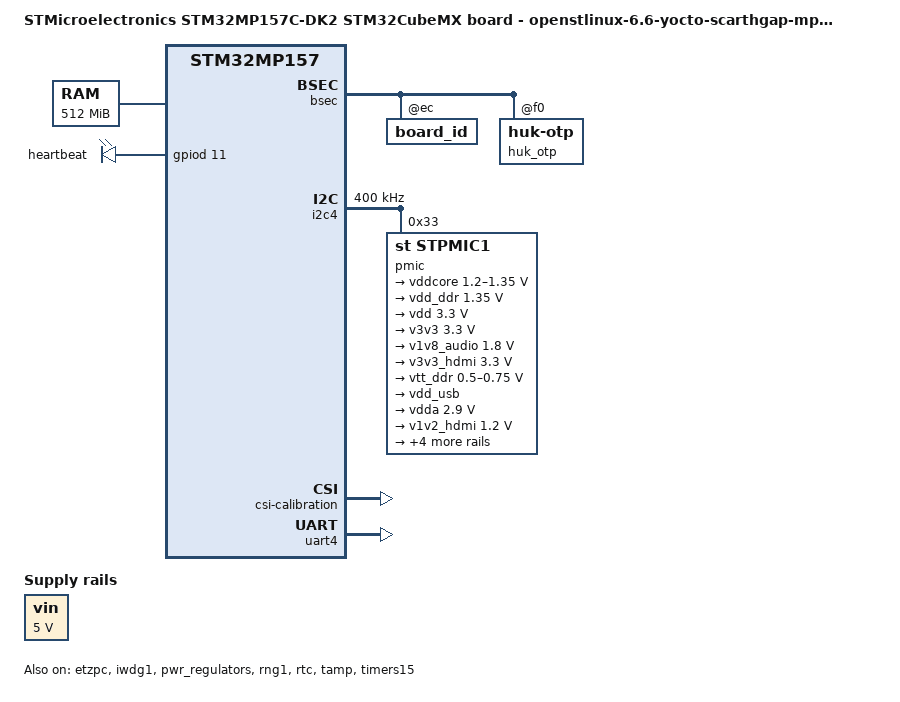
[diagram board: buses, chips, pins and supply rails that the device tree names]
// SPDX-License-Identifier: (GPL-2.0-or-later OR BSD-3-Clause)
/*
 * Copyright (C) 2026, STMicroelectronics - All Rights Reserved
 * Author: STM32CubeMX code generation for STMicroelectronics.
 */

/* For more information on Device Tree configuration, please refer to
 * https://wiki.st.com/stm32mpu/wiki/Category:Device_tree_configuration
 */

/dts-v1/;

#include <dt-bindings/pinctrl/stm32-pinfunc.h>
#include <dt-bindings/clock/stm32mp1-clksrc.h>
#include <dt-bindings/soc/stm32mp15-etzpc.h>
#include "stm32mp157.dtsi"
#include "stm32mp15xc.dtsi"
#include "stm32mp15xxac-pinctrl.dtsi"

/* USER CODE BEGIN includes */
#include "stm32mp15-pinctrl.dtsi"
#include <dt-bindings/gpio/gpio.h>
#include <dt-bindings/power/stm32mp1-power.h>
#include <dt-bindings/mfd/st,stpmic1.h>
#include <dt-bindings/soc/stm32mp-provisioning.h>
#include <dt-bindings/tamper/st,stm32-tamp.h>

/* USER CODE END includes */

/ {
	model = "STMicroelectronics STM32MP157C-DK2 STM32CubeMX board - openstlinux-6.6-yocto-scarthgap-mpu-v25.06.11";
	compatible = "st,stm32mp157c-cube-mx", "st,stm32mp157c-dk2", "st,stm32mp157";

	memory@c0000000 {
		device_type = "memory";
		reg = <0xc0000000 0x20000000>;

		/* USER CODE BEGIN memory */
		/* USER CODE END memory */
	};

	reserved-memory {
		#address-cells = <1>;
		#size-cells = <1>;
		ranges;

		/* USER CODE BEGIN reserved-memory */

		mcusram1:mcuram1@10000000{
			compatible = "shared-dma-pool";
			reg = <0x10000000 0x20000>;
			no-map;
			access-controllers-conf-default = <&etzpc DECPROT(STM32MP1_ETZPC_SRAM1_ID, DECPROT_MCU_ISOLATION, DECPROT_UNLOCK)>;
			access-controllers-conf-load = <&etzpc DECPROT(STM32MP1_ETZPC_SRAM1_ID, DECPROT_S_RW, DECPROT_UNLOCK)>;
		};

		mcusram2:mcuram2@10020000{
			compatible = "shared-dma-pool";
			reg = <0x10020000 0x20000>;
			no-map;
			access-controllers-conf-default = <&etzpc DECPROT(STM32MP1_ETZPC_SRAM2_ID, DECPROT_MCU_ISOLATION, DECPROT_UNLOCK)>;
			access-controllers-conf-load = <&etzpc DECPROT(STM32MP1_ETZPC_SRAM2_ID, DECPROT_S_RW, DECPROT_UNLOCK)>;
		};

		mcusram3:mcuram3@10040000{
			compatible = "shared-dma-pool";
			reg = <0x10040000 0x10000>;
			no-map;
			access-controllers-conf-default = <&etzpc DECPROT(STM32MP1_ETZPC_SRAM3_ID, DECPROT_NS_RW, DECPROT_UNLOCK)>;
			access-controllers-conf-load = <&etzpc DECPROT(STM32MP1_ETZPC_SRAM3_ID, DECPROT_S_RW, DECPROT_UNLOCK)>;
		};

		retram:retram@38000000{
			compatible = "shared-dma-pool";
			reg = <0x38000000 0x10000>;
			no-map;
			access-controllers-conf-default = <&etzpc DECPROT(STM32MP1_ETZPC_RETRAM_ID, DECPROT_MCU_ISOLATION, DECPROT_UNLOCK)>;
			access-controllers-conf-load = <&etzpc DECPROT(STM32MP1_ETZPC_RETRAM_ID, DECPROT_S_RW, DECPROT_UNLOCK)>;
		};

		gpu_reserved:gpu@d4000000{
			reg = <0xd4000000 0x4000000>;
			no-map;
		};

		/* USER CODE END reserved-memory */
	};

	/* USER CODE BEGIN root */

	aliases{
		serial0 = &uart4;
		serial1 = &usart3;
		serial2 = &uart7;
		serial3 = &usart2;
	};

	led{
		compatible = "gpio-leds";

		led-blue{
			label = "heartbeat";
			gpios = <&gpiod 11 GPIO_ACTIVE_HIGH>;
			linux,default-trigger = "heartbeat";
			default-state = "off";
		};
	};

	shadow-prov{
		compatible = "st,provisioning";

		hw2_prov{
			nvmem-cells = <&hw2_otp>;
			st,shadow-value = <0x000001E0>;
			st,shadow-lock = <STICKY_LOCK_SR>;
		};
	};

	vin:vin{
		compatible = "regulator-fixed";
		regulator-name = "vin";
		regulator-min-microvolt = <5000000>;
		regulator-max-microvolt = <5000000>;
		regulator-always-on;
	};

	chosen{
		stdout-path = "serial0:115200n8";
	};

	/* USER CODE END root */

	clocks {
		/* USER CODE BEGIN clocks */
		/* USER CODE END clocks */

		clk_hsi: clk-hsi {
			clock-frequency = <64000000>;

			/* USER CODE BEGIN clk_hsi */
			/* USER CODE END clk_hsi */
		};
		clk_lse: clk-lse {
			clock-frequency = <32768>;
			st,drive = < LSEDRV_MEDIUM_HIGH >;

			/* USER CODE BEGIN clk_lse */
			/* USER CODE END clk_lse */
		};
		clk_hse: clk-hse {
			clock-frequency = <24000000>;
			st,css;
			st,digbypass;

			/* USER CODE BEGIN clk_hse */
			/* USER CODE END clk_hse */
		};
	};

}; /*root*/

/*Warning: the configuration of the secured GPIOs should be added in (addons) User Section*/
&pinctrl {
	rcc_pins_mx: rcc_mx-0 {
		pins {
			pinmux = <STM32_PINMUX('G', 2, AF1)>; /* RCC_MCO_2 */
			bias-disable;
			drive-push-pull;
			slew-rate = <0>;
		};
	};

	/* USER CODE BEGIN pinctrl */
	/* USER CODE END pinctrl */
};

&bsec {
	status = "okay";

	/* USER CODE BEGIN bsec */

	board_id:board_id@ec{
		reg = <0xec 0x4>;
		st,non-secure-otp;
	};

	huk_otp:huk-otp@f0{
		reg = <0xf0 0x10>;
	};

	/* USER CODE END bsec */
};

&etzpc {
	status = "okay";
	st,decprot = <
	/*"Non Secured" peripherals*/
	DECPROT(STM32MP1_ETZPC_CRYP1_ID, DECPROT_NS_RW, DECPROT_UNLOCK)
	DECPROT(STM32MP1_ETZPC_DMA1_ID, DECPROT_NS_RW, DECPROT_UNLOCK)
	DECPROT(STM32MP1_ETZPC_DMA2_ID, DECPROT_NS_RW, DECPROT_UNLOCK)
	DECPROT(STM32MP1_ETZPC_DMAMUX_ID, DECPROT_NS_RW, DECPROT_UNLOCK)
	DECPROT(STM32MP1_ETZPC_HASH1_ID, DECPROT_NS_RW, DECPROT_UNLOCK)
	DECPROT(STM32MP1_ETZPC_I2C1_ID, DECPROT_NS_RW, DECPROT_UNLOCK)
	DECPROT(STM32MP1_ETZPC_I2C4_ID, DECPROT_NS_RW, DECPROT_UNLOCK)
	DECPROT(STM32MP1_ETZPC_QSPI_ID, DECPROT_NS_RW, DECPROT_UNLOCK)
	DECPROT(STM32MP1_ETZPC_DLYBQ_ID, DECPROT_NS_RW, DECPROT_UNLOCK)
	DECPROT(STM32MP1_ETZPC_UART4_ID, DECPROT_NS_RW, DECPROT_UNLOCK)
	DECPROT(STM32MP1_ETZPC_USART1_ID, DECPROT_NS_RW, DECPROT_UNLOCK)
	DECPROT(STM32MP1_ETZPC_USART2_ID, DECPROT_NS_RW, DECPROT_UNLOCK)
	/*"NS_R S_W" peripherals*/
	DECPROT(STM32MP1_ETZPC_DDRCTRL_ID, DECPROT_NS_R_S_W, DECPROT_LOCK)
	DECPROT(STM32MP1_ETZPC_DDRPHYC_ID, DECPROT_NS_R_S_W, DECPROT_LOCK)
	/*"Secured" peripherals*/
	DECPROT(STM32MP1_ETZPC_IWDG1_ID, DECPROT_S_RW, DECPROT_UNLOCK)
	DECPROT(STM32MP1_ETZPC_RNG1_ID, DECPROT_S_RW, DECPROT_UNLOCK)
	DECPROT(STM32MP1_ETZPC_STGENC_ID, DECPROT_S_RW, DECPROT_UNLOCK)

	/*Restriction: following IDs are not managed  - please to use User-Section if needed:
		  STM32MP1_ETZPC_SRAMx_ID  STM32MP1_ETZPC_RETRAM_ID  STM32MP1_ETZPC_BKPSRAM_ID*/

	/* USER CODE BEGIN etzpc_decprot */
		/*STM32CubeMX generates a basic and standard configuration for ETZPC.
		Additional device configurations can be added here if needed.
		"etzpc" node could be also overloaded in "addons" User-Section.*/
	/* USER CODE END etzpc_decprot */
	>;

	/* USER CODE BEGIN etzpc */
	/* USER CODE END etzpc */
};

&i2c4 {
	pinctrl-names = "default", "sleep";
	pinctrl-0 = <&i2c4_pins_a>;
	status = "okay";

	/* USER CODE BEGIN i2c4 */
	compatible = "st,stm32mp15-i2c-non-secure";
	pinctrl-1 = <&i2c4_sleep_pins_a>;
	i2c-scl-rising-time-ns = <185>;
	i2c-scl-falling-time-ns = <20>;
	clock-frequency = <400000>;
	/delete-property/ dmas;
	/delete-property/ dma-names;

	pmic: stpmic@33 {
		compatible = "st,stpmic1";
		reg = <0x33>;
		status = "okay";

		regulators {
			compatible = "st,stpmic1-regulators";
			buck1-supply = <&vin>;
			buck2-supply = <&vin>;
			buck3-supply = <&vin>;
			buck4-supply = <&vin>;
			ldo1-supply = <&v3v3>;
			ldo2-supply = <&vin>;
			ldo3-supply = <&vdd_ddr>;
			ldo4-supply = <&vin>;
			ldo5-supply = <&vin>;
			ldo6-supply = <&v3v3>;
			vref_ddr-supply = <&vin>;
			boost-supply = <&vin>;
			pwr_sw1-supply = <&bst_out>;
			pwr_sw2-supply = <&bst_out>;

			vddcore: buck1 {
				regulator-name = "vddcore";
				regulator-min-microvolt = <1200000>;
				regulator-max-microvolt = <1350000>;
				regulator-always-on;
				regulator-initial-mode = <0>;
				regulator-over-current-protection;
			};

			vdd_ddr: buck2 {
				regulator-name = "vdd_ddr";
				regulator-min-microvolt = <1350000>;
				regulator-max-microvolt = <1350000>;
				regulator-always-on;
				regulator-initial-mode = <0>;
				regulator-over-current-protection;
			};

			vdd: buck3 {
				regulator-name = "vdd";
				regulator-min-microvolt = <3300000>;
				regulator-max-microvolt = <3300000>;
				regulator-always-on;
				st,mask-reset;
				regulator-initial-mode = <0>;
				regulator-over-current-protection;
			};

			v3v3: buck4 {
				regulator-name = "v3v3";
				regulator-min-microvolt = <3300000>;
				regulator-max-microvolt = <3300000>;
				regulator-always-on;
				regulator-over-current-protection;
				regulator-initial-mode = <0>;
			};

			v1v8_audio: ldo1 {
				regulator-name = "v1v8_audio";
				regulator-min-microvolt = <1800000>;
				regulator-max-microvolt = <1800000>;
				regulator-always-on;
				interrupts = <IT_CURLIM_LDO1 0>;
			};

			v3v3_hdmi: ldo2 {
				regulator-name = "v3v3_hdmi";
				regulator-min-microvolt = <3300000>;
				regulator-max-microvolt = <3300000>;
				regulator-always-on;
				interrupts = <IT_CURLIM_LDO2 0>;
			};

			vtt_ddr: ldo3 {
				regulator-name = "vtt_ddr";
				regulator-min-microvolt = <500000>;
				regulator-max-microvolt = <750000>;
				regulator-always-on;
				regulator-over-current-protection;
			};

			vdd_usb: ldo4 {
				regulator-name = "vdd_usb";
				interrupts = <IT_CURLIM_LDO4 0>;
				regulator-always-on;
			};

			vdda: ldo5 {
				regulator-name = "vdda";
				regulator-min-microvolt = <2900000>;
				regulator-max-microvolt = <2900000>;
				interrupts = <IT_CURLIM_LDO5 0>;
				regulator-boot-on;
			};

			v1v2_hdmi: ldo6 {
				regulator-name = "v1v2_hdmi";
				regulator-min-microvolt = <1200000>;
				regulator-max-microvolt = <1200000>;
				regulator-always-on;
				interrupts = <IT_CURLIM_LDO6 0>;
			};

			vref_ddr: vref_ddr {
				regulator-name = "vref_ddr";
				regulator-always-on;
			};

			 bst_out: boost {
				regulator-name = "bst_out";
				interrupts = <IT_OCP_BOOST 0>;
			 };

			vbus_otg: pwr_sw1 {
				regulator-name = "vbus_otg";
				interrupts = <IT_OCP_OTG 0>;
			 };

			 vbus_sw: pwr_sw2 {
				regulator-name = "vbus_sw";
				interrupts = <IT_OCP_SWOUT 0>;
				regulator-active-discharge = <1>;
			 };
		};

		onkey {
			compatible = "st,stpmic1-onkey";
			interrupts = <IT_PONKEY_F 0>, <IT_PONKEY_R 0>;
			interrupt-names = "onkey-falling", "onkey-rising";
			power-off-time-sec = <10>;
			status = "okay";
		};

		watchdog {
			compatible = "st,stpmic1-wdt";
			status = "disabled";
		};
	};

	/* USER CODE END i2c4 */
};

&iwdg1 {
	status = "okay";

	/* USER CODE BEGIN iwdg1 */
	timeout-sec = <32>;

	/* USER CODE END iwdg1 */
};

&pwr_regulators {
	status = "okay";

	/* USER CODE BEGIN pwr_regulators */
	system_suspend_supported_soc_modes = <
		STM32_PM_CSLEEP_RUN
		STM32_PM_CSTOP_ALLOW_LP_STOP
		STM32_PM_CSTOP_ALLOW_STANDBY_DDR_SR
	>;
	system_off_soc_mode = <STM32_PM_CSTOP_ALLOW_STANDBY_DDR_OFF>;
	vdd-supply = <&vdd>;
	vdd_3v3_usbfs-supply = <&vdd_usb>;

	/* USER CODE END pwr_regulators */
};

&rcc {
	status = "okay";
	/* USER CODE BEGIN rcc */
	compatible = "st,stm32mp1-rcc-secure";

	/* USER CODE END rcc */
	st,clksrc = <
		CLK_CKPER_DISABLED
		CLK_QSPI_ACLK
		CLK_SDMMC12_PLL4P
		CLK_STGEN_HSE
		CLK_I2C46_HSI
		CLK_I2C12_HSI
		CLK_UART1_PCLK5
		CLK_UART24_HSI
		CLK_RNG1_CSI
		CLK_MPU_PLL1P
		CLK_AXI_PLL2P
		CLK_MCU_PLL3P
		CLK_RTC_LSE
		CLK_MCO1_DISABLED
		CLK_MCO2_PLL4
	>;
	st,clkdiv = <
		DIV(DIV_MPU, 1)
		DIV(DIV_AXI, 0)
		DIV(DIV_MCU, 0)
		DIV(DIV_APB1, 1)
		DIV(DIV_APB2, 1)
		DIV(DIV_APB3, 1)
		DIV(DIV_APB4, 1)
		DIV(DIV_APB5, 2)
		DIV(DIV_RTC, 23)
		DIV(DIV_MCO1, 0)
		DIV(DIV_MCO2, 1)
	>;
	st,pll_vco {
		pll1_vco_1300Mhz: pll1-vco-1300Mhz {
			src = < CLK_PLL12_HSE >;
			divmn = < 2 80 >;
			frac = < 0x800 >;
		};
		pll2_vco_1066Mhz: pll2-vco-1066Mhz {
			src = < CLK_PLL12_HSE >;
			divmn = < 2 65 >;
			frac = < 0x1400 >;
		};
		pll3_vco_416Mhz: pll3-vco-416Mhz {
			src = < CLK_PLL3_HSE >;
			divmn = < 5 103 >;
		};
		pll4_vco_600Mhz: pll4-vco-600Mhz {
			src = < CLK_PLL4_HSE >;
			divmn = < 3 99 >;
		};
		/* USER CODE BEGIN rcc_st-pll_vco */
		/* USER CODE END rcc_st-pll_vco */
	};

	pll1:st,pll@0 {
		compatible = "st,stm32mp1-pll";
		reg = <0>;

		st,pll = < &pll1_cfg1 >;

		pll1_cfg1: pll1_cfg1 {
			st,pll_vco = < &pll1_vco_1300Mhz >;
			st,pll_div_pqr = < 0 1 1 >;
		};
		/* USER CODE BEGIN pll1 */
		/* USER CODE END pll1 */
	};

	pll2:st,pll@1 {
		compatible = "st,stm32mp1-pll";
		reg = <1>;

		st,pll = < &pll2_cfg1 >;

		pll2_cfg1: pll2_cfg1 {
			st,pll_vco = < &pll2_vco_1066Mhz >;
			st,pll_div_pqr = < 1 0 0 >;
		};
		/* USER CODE BEGIN pll2 */
		/* USER CODE END pll2 */
	};

	pll3:st,pll@2 {
		compatible = "st,stm32mp1-pll";
		reg = <2>;

		st,pll = < &pll3_cfg1 >;

		pll3_cfg1: pll3_cfg1 {
			st,pll_vco = < &pll3_vco_416Mhz >;
			st,pll_div_pqr = < 1 15 31 >;
		};
		/* USER CODE BEGIN pll3 */
		/* USER CODE END pll3 */
	};

	pll4:st,pll@3 {
		compatible = "st,stm32mp1-pll";
		reg = <3>;

		st,pll = < &pll4_cfg1 >;

		pll4_cfg1: pll4_cfg1 {
			st,pll_vco = < &pll4_vco_600Mhz >;
			st,pll_div_pqr = < 5 7 7 >;
		};
		/* USER CODE BEGIN pll4 */
		/* USER CODE END pll4 */
	};

	st,rcc{
		pinctrl-names = "default";
		pinctrl-0 = <&rcc_pins_mx>;
		status = "okay";

	};
};

&rng1 {
	status = "okay";

	/* USER CODE BEGIN rng1 */
	/* USER CODE END rng1 */
};

&rtc {
	status = "okay";

	/* USER CODE BEGIN rtc */
	/* USER CODE END rtc */
};

&tamp {
	status = "okay";

	/* USER CODE BEGIN tamp */
	st,tamp-passive-nb-sample = <4>;
	st,tamp-passive-sample-clk-div = <16384>;

	/* USER CODE END tamp */
};

/* USER CODE BEGIN addons */

&gpu {
	contiguous-area = <&gpu_reserved>;
};

&cpu0 {
	cpu-supply = <&vddcore>;
};

&cpu1 {
	cpu-supply = <&vddcore>;
};

&osc_calibration {

	csi-calibration{
		status = "okay";
	};

	hsi-calibration{
		status = "okay";
	};
};

&usbphyc_port0 {
	phy-supply = <&vdd_usb>;
	st,tune-hs-dc-level = <2>;
	st,enable-fs-rftime-tuning;
	st,enable-hs-rftime-reduction;
	st,trim-hs-current = <15>;
	st,trim-hs-impedance = <1>;
	st,tune-squelch-level = <3>;
	st,tune-hs-rx-offset = <2>;
	st,no-lsfs-sc;
};

&usbphyc_port1 {
	phy-supply = <&vdd_usb>;
	st,tune-hs-dc-level = <2>;
	st,enable-fs-rftime-tuning;
	st,enable-hs-rftime-reduction;
	st,trim-hs-current = <15>;
	st,trim-hs-impedance = <1>;
	st,tune-squelch-level = <3>;
	st,tune-hs-rx-offset = <2>;
	st,no-lsfs-sc;
};

&uart4{
	pinctrl-names = "default";
	pinctrl-0 = <&uart4_pins_a>;
	pinctrl-1 = <&uart4_sleep_pins_a>;
	pinctrl-2 = <&uart4_idle_pins_a>;
	status = "okay";
};

&timers15{
	status = "okay";
	counter
	{
		status = "okay";
	};
};
/* USER CODE END addons */

